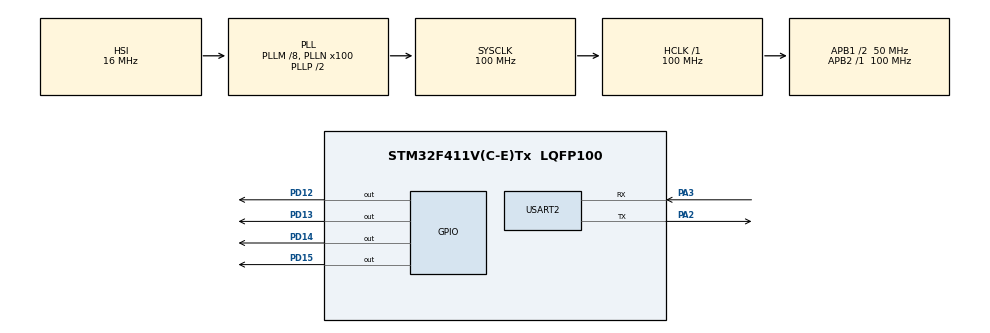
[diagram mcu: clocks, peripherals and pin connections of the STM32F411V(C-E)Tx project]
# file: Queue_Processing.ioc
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FREERTOS.Queues01=cmd_queue,10,char*,0,Dynamic,NULL,NULL
FREERTOS.Tasks01=Task3,0,500,Task3_cmd_processing,Default,NULL,Dynamic,NULL,NULL;Task1,-1,500,Task1_Display_menu,Default,NULL,Dynamic,NULL,NULL;Task2,0,500,Task2_cmd_handling,Default,NULL,Dynamic,NULL,NULL;Task4,0,500,Task4_Uart_write,Default,NULL,Dynamic,NULL,NULL
FREERTOS.Timers01=myTimer01,Callback01,osTimerPeriodic,Default,NULL,Dynamic,NULL
FREERTOS.configUSE_TIMERS=1
Mcu.Family=STM32F4
Mcu.Name=STM32F411V(C-E)Tx
Mcu.Package=LQFP100
NVIC.PriorityGroup=NVIC_PRIORITYGROUP_4
NVIC.TIM4_IRQn=true\:0\:0\:false\:false\:true\:false\:false\:true
NVIC.TimeBase=TIM4_IRQn
NVIC.TimeBaseIP=TIM4
NVIC.USART2_IRQn=true\:6\:0\:true\:false\:true\:true\:true\:true
PA13.Mode=Serial_Wire
PA13.Signal=SYS_JTMS-SWDIO
PA14.Mode=Serial_Wire
PA14.Signal=SYS_JTCK-SWCLK
PA2.Mode=Asynchronous
PA2.Signal=USART2_TX
PA3.Mode=Asynchronous
PA3.Signal=USART2_RX
PD12.Signal=GPIO_Output
PD13.Signal=GPIO_Output
PD14.Signal=GPIO_Output
PD15.Signal=GPIO_Output
PH0\ -\ OSC_IN.Mode=HSE-External-Oscillator
PH0\ -\ OSC_IN.Signal=RCC_OSC_IN
PH1\ -\ OSC_OUT.Mode=HSE-External-Oscillator
PH1\ -\ OSC_OUT.Signal=RCC_OSC_OUT
ProjectManager.HeapSize=0x200
ProjectManager.StackSize=0x400
ProjectManager.TargetToolchain=MDK-ARM V5.27
RCC.48MHZClocksFreq_Value=50000000
RCC.AHBFreq_Value=100000000
RCC.APB1CLKDivider=RCC_HCLK_DIV2
RCC.APB1Freq_Value=50000000
RCC.APB1TimFreq_Value=100000000
RCC.APB2Freq_Value=100000000
RCC.APB2TimFreq_Value=100000000
RCC.CortexFreq_Value=100000000
RCC.HCLKFreq_Value=100000000
RCC.HSE_VALUE=25000000
RCC.HSI_VALUE=16000000
RCC.LSE_VALUE=32768
RCC.PLLM=8
RCC.PLLN=100
RCC.RCC_RTC_Clock_Source=RCC_RTCCLKSOURCE_LSI
RCC.RCC_RTC_Clock_SourceVirtual=RCC_RTCCLKSOURCE_LSE
RCC.RCC_RTC_Clock_Source_FROM_HSE=RCC_RTCCLKSOURCE_HSE_DIV25
RCC.SYSCLKFreq_VALUE=100000000
RCC.SYSCLKSource=RCC_SYSCLKSOURCE_PLLCLK
RCC.VCOOutputFreq_Value=200000000
USART2.VirtualMode=VM_ASYNC
VP_FREERTOS_VS_CMSIS_V1.Mode=CMSIS_V1
VP_RTC_VS_RTC_Activate.Mode=RTC_Enabled
VP_RTC_VS_RTC_Calendar.Mode=RTC_Calendar
VP_SYS_VS_tim4.Mode=TIM4
board=custom

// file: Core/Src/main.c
/* USER CODE BEGIN Header */
/**
  ******************************************************************************
  * @file           : main.c
  * @brief          : Main program body
  ******************************************************************************
  * @attention
  *
  * <h2><center>&copy; Copyright (c) 2021 STMicroelectronics.
  * All rights reserved.</center></h2>
  *
  * This software component is licensed by ST under Ultimate Liberty license
  * SLA0044, the "License"; You may not use this file except in compliance with
  * the License. You may obtain a copy of the License at:
  *                             www.st.com/SLA0044
  *
  ******************************************************************************
  */
/* USER CODE END Header */
#include "main.h"
#include "cmsis_os.h"

/* USER CODE BEGIN Includes */
#include "stdio.h"

/* USER CODE END Includes */

/* USER CODE BEGIN PM */
#define LED_ON_CMD   			 				1
#define LED_OFF_CMD  			 				2
#define LED_TOGGLE_CMD   					3
#define LED_TOGGLE_STOP_CMD   		4
#define LED_READ_STATUS   				5
#define RTC_PRINT_DATETIME    		6

/* USER CODE END PM */

RTC_HandleTypeDef hrtc;

UART_HandleTypeDef huart2;

osThreadId Task3Handle;
osThreadId Task1Handle;
osThreadId Task2Handle;
osThreadId Task4Handle;
osMessageQId cmd_queueHandle;
osTimerId myTimer01Handle;
/* USER CODE BEGIN PV */
osMessageQId write_queueHandle;

RTC_TimeTypeDef sTime;

/* USER CODE END PV */

void SystemClock_Config(void);
static void MX_GPIO_Init(void);
static void MX_RTC_Init(void);
static void MX_USART2_UART_Init(void);
void Task3_cmd_processing(void const * argument);
void Task1_Display_menu(void const * argument);
void Task2_cmd_handling(void const * argument);
void Task4_Uart_write(void const * argument);
void Callback01(void const * argument);

/* USER CODE BEGIN PFP */

uint8_t getCommandCode(uint8_t *buffer);
void getArguments(uint8_t *buffer);

 void make_led_on(void);
 void make_led_off(void);
 void led_toggle_start(void);
 void led_toggle_stop(void);
 void read_led_status(char task_msg[]);
 void read_rtc_inf(char* task_msg);
 void printf_error_message(char* task_msg);

/* USER CODE END PFP */

/* USER CODE BEGIN 0 */

char RxData[2];
uint8_t command_buffer[20];
uint8_t command_len=0;
char message[100]={0};
typedef struct APP_CMD
	{
		uint8_t COMMAND_NUM;
		uint8_t COMMAND_ARG[10];
	}APP_CMD_t;

char menu[]={
	"\
	\r\n LED_ON   			 				:1\
	\r\n LED_OFF   			 				:2\
	\r\n LED_TOGGLE   					:3\
	\r\n LED_TOGGLE_OFF   			:4\
	\r\n LED_READ_STATUS    		:5\
	\r\n RTC_PRINT_DATETIME    	:6\
	\r\nType your option here : "
           };

void HAL_UART_RxCpltCallback(UART_HandleTypeDef *huart)
{
	BaseType_t pxHigherPriorityTaskWoken =pdFALSE;
	uint16_t data_byte;

	data_byte = USART2->DR;//data byte received from users
	command_buffer[command_len++]=data_byte & 0xFF;

			command_len=0;
			//then user is finished entering the data
			//lets Notify the command-handling
				xTaskNotifyFromISR(Task2Handle,0,eNoAction,&pxHigherPriorityTaskWoken);
				xTaskNotifyFromISR(Task1Handle,0,eNoAction,&pxHigherPriorityTaskWoken);

		UART_Start_Receive_IT(&huart2,(uint8_t*)RxData,1);
		//if the above RTos apis wake up any higher Piority task,then yield processing to th
		//higher piorrity task which is just wkae up
		if(pxHigherPriorityTaskWoken)
			{
				taskYIELD();
			}
}
//helper function

uint8_t getCommandCode(uint8_t *buffer)
{
	return buffer[0]-48;
}
void getArguments(uint8_t *buffer)
{

}

 void make_led_on(void)
{
	HAL_GPIO_WritePin(GPIOD,GPIO_PIN_12,GPIO_PIN_SET);
	HAL_GPIO_WritePin(GPIOD,GPIO_PIN_13,GPIO_PIN_SET);
	HAL_GPIO_WritePin(GPIOD,GPIO_PIN_14,GPIO_PIN_SET);
	HAL_GPIO_WritePin(GPIOD,GPIO_PIN_15,GPIO_PIN_SET);

}
 void make_led_off(void)
{
	HAL_GPIO_WritePin(GPIOD,GPIO_PIN_12,GPIO_PIN_RESET);
	HAL_GPIO_WritePin(GPIOD,GPIO_PIN_13,GPIO_PIN_RESET);
	HAL_GPIO_WritePin(GPIOD,GPIO_PIN_14,GPIO_PIN_RESET);
	HAL_GPIO_WritePin(GPIOD,GPIO_PIN_15,GPIO_PIN_RESET);
}
void led_toggle_start(void)
{
		if(myTimer01Handle==NULL)
		{
      	//let create the software timer
	     osTimerDef(myTimer01, Callback01);
       myTimer01Handle = osTimerCreate(osTimer(myTimer01), osTimerPeriodic, NULL);
       //start software timer
	     osTimerStart(myTimer01Handle, 500);
		}
   else
    {
			 osTimerStart(myTimer01Handle, 500);
    }
}

void Callback01(void const * argument)
{
  /* USER CODE BEGIN Callback01 */
  HAL_GPIO_TogglePin(GPIOD,GPIO_PIN_12);
  /* USER CODE END Callback01 */
}
 void led_toggle_stop(void)
{
		osTimerStop(myTimer01Handle);
}

 void read_led_status(char task_msg[])
	{
		sprintf(task_msg,"\r\nLed status is : %d \r\n",HAL_GPIO_ReadPin(GPIOD,GPIO_PIN_15));
	  xQueueSend(write_queueHandle,(void*)&task_msg,portMAX_DELAY);
	}
 void read_rtc_inf(char* task_msg)
	{
			uint8_t Seconds=0;
			uint8_t Minutes=0;
			uint8_t Hours=0;

			HAL_RTC_GetTime(&hrtc,&sTime,RTC_FORMAT_BCD);

			Hours=sTime.Hours ;
			Minutes=sTime.Minutes;
			Seconds=sTime.Seconds;
		  sprintf(task_msg,"\r\n Time : \n%d:%d:%d \r\n",Hours,Minutes,Seconds);
			xQueueSend(write_queueHandle,(void*)&task_msg,portMAX_DELAY);

	}
void printf_error_message(char* task_msg)
	{

		sprintf(task_msg,"\r\nInvalid command received\r\n");

	  xQueueSend(write_queueHandle,(void*)&task_msg,portMAX_DELAY);

	}
/* USER CODE END 0 */

int main(void)
{

  /* MCU Configuration--------------------------------------------------------*/

  /* Reset of all peripherals, Initializes the Flash interface and the Systick. */
  HAL_Init();

  /* Configure the system clock */
  SystemClock_Config();

  /* Initialize all configured peripherals */
  MX_GPIO_Init();
  MX_RTC_Init();
  MX_USART2_UART_Init();
  /* USER CODE BEGIN 2 */

	UART_Start_Receive_IT(&huart2,(uint8_t*)RxData,1);
  /* USER CODE END 2 */

  /* Create the timer(s) */
  /* definition and creation of myTimer01 */
  osTimerDef(myTimer01, Callback01);
  myTimer01Handle = osTimerCreate(osTimer(myTimer01), osTimerPeriodic, NULL);

  /* Create the queue(s) */
  /* definition and creation of cmd_queue */
  osMessageQDef(cmd_queue, 10, APP_CMD_t*);
  cmd_queueHandle = osMessageCreate(osMessageQ(cmd_queue), NULL);

  /* USER CODE BEGIN RTOS_QUEUES */
	 osMessageQDef(write_queue, 10, sizeof(char*));
  write_queueHandle = osMessageCreate(osMessageQ(write_queue), NULL);
  /* add queues, ... */
  /* USER CODE END RTOS_QUEUES */

  /* Create the thread(s) */
  /* definition and creation of Task3 */
  osThreadDef(Task3, Task3_cmd_processing, osPriorityNormal, 0, 500);
  Task3Handle = osThreadCreate(osThread(Task3), NULL);

  /* definition and creation of Task1 */
  osThreadDef(Task1, Task1_Display_menu, osPriorityBelowNormal, 0, 500);
  Task1Handle = osThreadCreate(osThread(Task1), NULL);

  /* definition and creation of Task2 */
  osThreadDef(Task2, Task2_cmd_handling, osPriorityNormal, 0, 500);
  Task2Handle = osThreadCreate(osThread(Task2), NULL);

  /* definition and creation of Task4 */
  osThreadDef(Task4, Task4_Uart_write, osPriorityNormal, 0, 500);
  Task4Handle = osThreadCreate(osThread(Task4), NULL);

  /* Start scheduler */
  osKernelStart();

  /* We should never get here as control is now taken by the scheduler */
  /* Infinite loop */
  while (1)
  {

  }
}

void SystemClock_Config(void)
{
  RCC_OscInitTypeDef RCC_OscInitStruct = {0};
  RCC_ClkInitTypeDef RCC_ClkInitStruct = {0};
  RCC_PeriphCLKInitTypeDef PeriphClkInitStruct = {0};

  /** Configure the main internal regulator output voltage
  */
  __HAL_RCC_PWR_CLK_ENABLE();
  __HAL_PWR_VOLTAGESCALING_CONFIG(PWR_REGULATOR_VOLTAGE_SCALE1);
  /** Initializes the RCC Oscillators according to the specified parameters
  * in the RCC_OscInitTypeDef structure.
  */
  RCC_OscInitStruct.OscillatorType = RCC_OSCILLATORTYPE_HSI|RCC_OSCILLATORTYPE_LSI;
  RCC_OscInitStruct.HSIState = RCC_HSI_ON;
  RCC_OscInitStruct.HSICalibrationValue = RCC_HSICALIBRATION_DEFAULT;
  RCC_OscInitStruct.LSIState = RCC_LSI_ON;
  RCC_OscInitStruct.PLL.PLLState = RCC_PLL_ON;
  RCC_OscInitStruct.PLL.PLLSource = RCC_PLLSOURCE_HSI;
  RCC_OscInitStruct.PLL.PLLM = 8;
  RCC_OscInitStruct.PLL.PLLN = 100;
  RCC_OscInitStruct.PLL.PLLP = RCC_PLLP_DIV2;
  RCC_OscInitStruct.PLL.PLLQ = 4;
  if (HAL_RCC_OscConfig(&RCC_OscInitStruct) != HAL_OK)
  {
    Error_Handler();
  }
  /** Initializes the CPU, AHB and APB buses clocks
  */
  RCC_ClkInitStruct.ClockType = RCC_CLOCKTYPE_HCLK|RCC_CLOCKTYPE_SYSCLK
                              |RCC_CLOCKTYPE_PCLK1|RCC_CLOCKTYPE_PCLK2;
  RCC_ClkInitStruct.SYSCLKSource = RCC_SYSCLKSOURCE_PLLCLK;
  RCC_ClkInitStruct.AHBCLKDivider = RCC_SYSCLK_DIV1;
  RCC_ClkInitStruct.APB1CLKDivider = RCC_HCLK_DIV2;
  RCC_ClkInitStruct.APB2CLKDivider = RCC_HCLK_DIV1;

  if (HAL_RCC_ClockConfig(&RCC_ClkInitStruct, FLASH_LATENCY_3) != HAL_OK)
  {
    Error_Handler();
  }
  PeriphClkInitStruct.PeriphClockSelection = RCC_PERIPHCLK_RTC;
  PeriphClkInitStruct.RTCClockSelection = RCC_RTCCLKSOURCE_LSI;
  if (HAL_RCCEx_PeriphCLKConfig(&PeriphClkInitStruct) != HAL_OK)
  {
    Error_Handler();
  }
}

static void MX_RTC_Init(void)
{

  RTC_TimeTypeDef sTime = {0};
  RTC_DateTypeDef sDate = {0};

  /** Initialize RTC Only
  */
  hrtc.Instance = RTC;
  hrtc.Init.HourFormat = RTC_HOURFORMAT_24;
  hrtc.Init.AsynchPrediv = 127;
  hrtc.Init.SynchPrediv = 255;
  hrtc.Init.OutPut = RTC_OUTPUT_DISABLE;
  hrtc.Init.OutPutPolarity = RTC_OUTPUT_POLARITY_HIGH;
  hrtc.Init.OutPutType = RTC_OUTPUT_TYPE_OPENDRAIN;
  if (HAL_RTC_Init(&hrtc) != HAL_OK)
  {
    Error_Handler();
  }

  /** Initialize RTC and set the Time and Date
  */
  sTime.Hours = 0x0;
  sTime.Minutes = 0x0;
  sTime.Seconds = 0x0;
  sTime.DayLightSaving = RTC_DAYLIGHTSAVING_NONE;
  sTime.StoreOperation = RTC_STOREOPERATION_RESET;
  if (HAL_RTC_SetTime(&hrtc, &sTime, RTC_FORMAT_BCD) != HAL_OK)
  {
    Error_Handler();
  }
  sDate.WeekDay = RTC_WEEKDAY_MONDAY;
  sDate.Month = RTC_MONTH_JANUARY;
  sDate.Date = 0x1;
  sDate.Year = 0x0;

  if (HAL_RTC_SetDate(&hrtc, &sDate, RTC_FORMAT_BCD) != HAL_OK)
  {
    Error_Handler();
  }

}

static void MX_USART2_UART_Init(void)
{

  huart2.Instance = USART2;
  huart2.Init.BaudRate = 115200;
  huart2.Init.WordLength = UART_WORDLENGTH_8B;
  huart2.Init.StopBits = UART_STOPBITS_1;
  huart2.Init.Parity = UART_PARITY_NONE;
  huart2.Init.Mode = UART_MODE_TX_RX;
  huart2.Init.HwFlowCtl = UART_HWCONTROL_NONE;
  huart2.Init.OverSampling = UART_OVERSAMPLING_16;
  if (HAL_UART_Init(&huart2) != HAL_OK)
  {
    Error_Handler();
  }

}

static void MX_GPIO_Init(void)
{
  GPIO_InitTypeDef GPIO_InitStruct = {0};

  /* GPIO Ports Clock Enable */
  __HAL_RCC_GPIOH_CLK_ENABLE();
  __HAL_RCC_GPIOA_CLK_ENABLE();
  __HAL_RCC_GPIOD_CLK_ENABLE();

  /*Configure GPIO pin Output Level */
  HAL_GPIO_WritePin(GPIOD, GPIO_PIN_12|GPIO_PIN_13|GPIO_PIN_14|GPIO_PIN_15, GPIO_PIN_RESET);

  /*Configure GPIO pins : PD12 PD13 PD14 PD15 */
  GPIO_InitStruct.Pin = GPIO_PIN_12|GPIO_PIN_13|GPIO_PIN_14|GPIO_PIN_15;
  GPIO_InitStruct.Mode = GPIO_MODE_OUTPUT_PP;
  GPIO_InitStruct.Pull = GPIO_NOPULL;
  GPIO_InitStruct.Speed = GPIO_SPEED_FREQ_LOW;
  HAL_GPIO_Init(GPIOD, &GPIO_InitStruct);

}

void Task3_cmd_processing(void const * argument)
{
  /* USER CODE BEGIN 5 */
	APP_CMD_t *new_cmd;
	char task_msg[50];

  /* Infinite loop */
  for(;;)
  {
     xQueueReceive(cmd_queueHandle,(void*)&new_cmd,portMAX_DELAY);

		if(new_cmd->COMMAND_NUM == LED_ON_CMD)
			{
				make_led_on();
			}else if(new_cmd->COMMAND_NUM == LED_OFF_CMD)
			{
				make_led_off();
			}else if(new_cmd->COMMAND_NUM == LED_TOGGLE_CMD)
			{
				led_toggle_start();
			}else if(new_cmd->COMMAND_NUM == LED_TOGGLE_STOP_CMD)
			{
				led_toggle_stop();
			}else if(new_cmd->COMMAND_NUM == LED_READ_STATUS)
			{
				read_led_status(task_msg);
			}else if(new_cmd->COMMAND_NUM == RTC_PRINT_DATETIME)
			{
				read_rtc_inf(task_msg);
			}else
			{
					printf_error_message(task_msg);
			}
			vPortFree(new_cmd);
  }
  /* USER CODE END 5 */
}

void Task1_Display_menu(void const * argument)
{
  /* USER CODE BEGIN Task1_Display_menu */
	char *pData=menu;
  /* Infinite loop */
  for(;;)
  {
		xQueueSend(write_queueHandle,&pData,portMAX_DELAY);
		//lets wait until someone notifies
    xTaskNotifyWait(0,0,NULL,portMAX_DELAY);
  }
  /* USER CODE END Task1_Display_menu */
}

void Task2_cmd_handling(void const * argument)
{
  /* USER CODE BEGIN Task2_cmd_handling */
	uint8_t command_code =0;
	APP_CMD_t *new_cmd;
  /* Infinite loop */
  for(;;)
  {
    xTaskNotifyWait(0,0,NULL,portMAX_DELAY);

			new_cmd=(APP_CMD_t*)pvPortMalloc(sizeof(APP_CMD_t));
		//1.send command to queue
		taskENTER_CRITICAL();
		command_code=getCommandCode(command_buffer);
		new_cmd=(APP_CMD_t*)pvPortMalloc(sizeof(APP_CMD_t));
		new_cmd->COMMAND_NUM = command_code;
		getArguments(new_cmd->COMMAND_ARG);
		taskEXIT_CRITICAL();
		xQueueSend(cmd_queueHandle,&new_cmd,portMAX_DELAY);
  }
  /* USER CODE END Task2_cmd_handling */
}

void Task4_Uart_write(void const * argument)
{
  /* USER CODE BEGIN Task4_Uart_write */
	char *pDataRec=NULL;
  /* Infinite loop */
  for(;;)
  {
		xQueueReceive(write_queueHandle,&pDataRec,portMAX_DELAY);
		HAL_UART_Transmit(&huart2,(uint8_t*)pDataRec,sizeof(menu),500);
  }
  /* USER CODE END Task4_Uart_write */
}

/* Callback01 function */

 /**
  * @brief  Period elapsed callback in non blocking mode
  * @note   This function is called  when TIM4 interrupt took place, inside
  * HAL_TIM_IRQHandler(). It makes a direct call to HAL_IncTick() to increment
  * a global variable "uwTick" used as application time base.
  * @param  htim : TIM handle
  * @retval None
  */
void HAL_TIM_PeriodElapsedCallback(TIM_HandleTypeDef *htim)
{
  if (htim->Instance == TIM4) {
    HAL_IncTick();
  }
}

void Error_Handler(void)
{
  __disable_irq();
  while (1)
  {
  }
}

/************************ (C) COPYRIGHT STMicroelectronics *****END OF FILE****/
